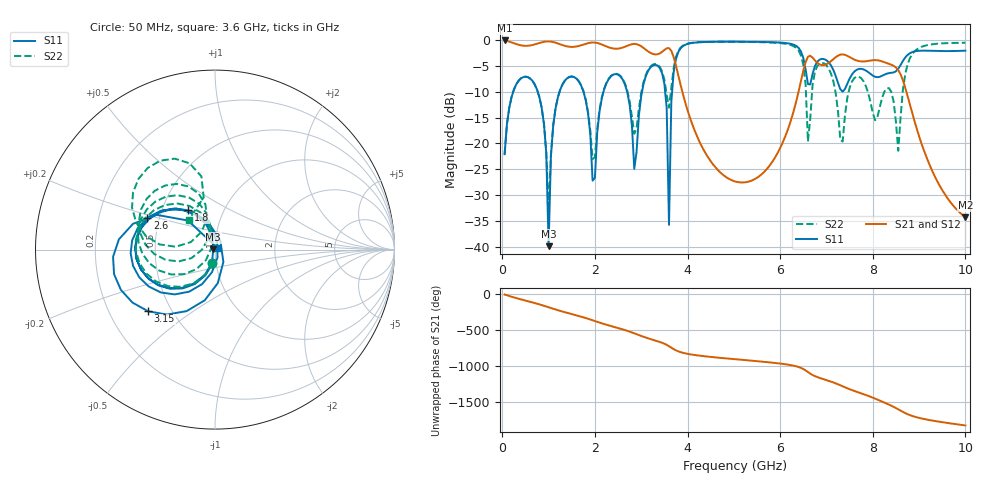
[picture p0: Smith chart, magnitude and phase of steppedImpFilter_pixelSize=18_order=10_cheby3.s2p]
! freq	dB(S11)	phase(S11)	dB(S12)	phase(S12)
!  dB(S21)	phase(S21)	dB(S22)	phase(S22)
!S-par simulation data
#  GHz  S  DB  R 50
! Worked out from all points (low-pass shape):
!   200 points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, 50 MHz to 10 GHz, reference 50 ohm
!   highest |S21| = -0.04 dB at 50 MHz (marker M1); lowest = -34.3 dB at 10 GHz (marker M2)
!   |S21| within 3 dB of the highest: start of sweep to 3.692 GHz; 7.24 GHz to 7.455 GHz (215.6 MHz wide, 2.93 % of centre) (the widest 2 of 3)
!   lowest |S11| = -39.9 dB at 1 GHz (marker M3), VSWR 1.02, Z = 49 + j0.206 ohm
!   |S11| at or under -10 dB: 765.3 MHz to 1.236 GHz (471.1 MHz wide, 47.1 % of centre); 1.754 GHz to 2.185 GHz (431.2 MHz wide, 21.9 % of centre); 2.696 GHz to 3.017 GHz (320.6 MHz wide, 11.2 % of centre) (the widest 3 of 5)
!   |S22| runs from -33.1 to -0.3 dB; largest |S21 - S12| = 0
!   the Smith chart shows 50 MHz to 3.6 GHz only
!   S11 on the Smith chart (normalised r, x): 50 MHz: 0.96, -0.15; 1.8 GHz: 0.68, +0.32; 2.6 GHz: 0.43, +0.18; 3.15 GHz: 0.37, -0.34; 3.6 GHz: 1.03, +0.02
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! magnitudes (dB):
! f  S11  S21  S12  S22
! 50 MHz  -22.1  0.0  0.0  -22.1
! 700 MHz  -8.6  -0.8  -0.8  -8.6
! 900 MHz  -16.2  -0.3  -0.3  -16.2
! 1 GHz  -39.9  -0.2  -0.2  -33.1
! 1.2 GHz  -11.1  -0.6  -0.6  -11.1
! 1.75 GHz  -9.9  -0.8  -0.8  -9.8
! 1.8 GHz  -11.5  -0.7  -0.7  -11.4
! 1.95 GHz  -27.2  -0.4  -0.4  -23.0
! 2.6 GHz  -7.6  -1.4  -1.4  -7.5
! 2.85 GHz  -24.9  -0.7  -0.7  -18.1
! 3.15 GHz  -5.9  -2.2  -2.2  -5.7
! 3.4 GHz  -5.4  -2.5  -2.5  -5.1
! 3.55 GHz  -13.1  -1.6  -1.6  -10.5
! 3.6 GHz  -35.8  -1.5  -1.5  -13.1
! 3.65 GHz  -11.9  -2.0  -2.0  -9.3
! 3.8 GHz  -2.3  -6.8  -6.8  -2.1
! 5.05 GHz  -0.3  -27.4  -27.4  -0.3
! 6.7 GHz  -6.5  -3.4  -3.4  -8.7
! 8.35 GHz  -6.4  -4.6  -4.6  -9.3
! 8.55 GHz  -5.5  -5.8  -5.8  -21.4
! 8.85 GHz  -2.3  -14.0  -14.0  -2.7
! 10 GHz  -2.0  -34.3  -34.3  -0.5
